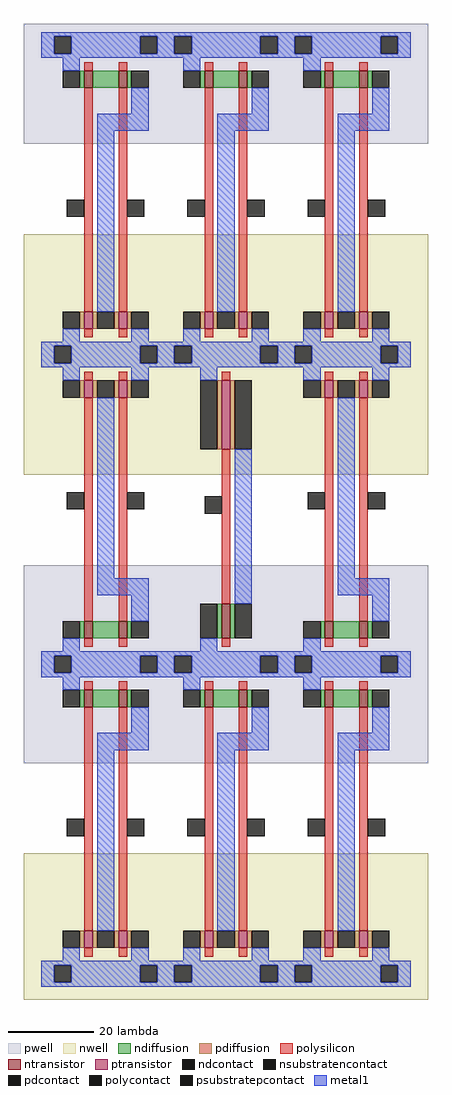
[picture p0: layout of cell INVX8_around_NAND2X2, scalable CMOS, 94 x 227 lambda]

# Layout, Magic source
magic
tech scmos
use NAND2X2  NAND2X2_4
transform 1 0 -26 0 -1 84
box -25 -36 13 47
use NAND2X2  NAND2X2_0
transform 1 0 2 0 -1 84
box -25 -36 13 47
use NAND2X2  NAND2X2_1
transform 1 0 30 0 -1 84
box -25 -36 13 47
use NAND2X2  NAND2X2_3
transform 1 0 -26 0 1 2
box -25 -36 13 47
use INVX8  INVX8_0
transform 1 0 5 0 1 24
box -28 -58 10 25
use NAND2X2  NAND2X2_2
transform 1 0 30 0 1 2
box -25 -36 13 47
use NAND2X2  NAND2X2_5
transform 1 0 -26 0 -1 -60
box -25 -36 13 47
use NAND2X2  NAND2X2_7
transform 1 0 2 0 -1 -60
box -25 -36 13 47
use NAND2X2  NAND2X2_6
transform 1 0 30 0 -1 -60
box -25 -36 13 47
<< end >>

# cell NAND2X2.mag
magic
tech scmos
<< nwell >>
rect -25 13 13 47
<< pwell >>
rect -25 -36 13 -8
<< ntransistor >>
rect -11 -25 -9 -21
rect -3 -25 -1 -21
<< ptransistor >>
rect -11 31 -9 35
rect -3 31 -1 35
<< ndiffusion >>
rect -12 -25 -11 -21
rect -9 -25 -3 -21
rect -1 -25 0 -21
<< pdiffusion >>
rect -12 31 -11 35
rect -9 31 -8 35
rect -4 31 -3 35
rect -1 31 0 35
<< ndcontact >>
rect -16 -25 -12 -21
rect 0 -25 4 -21
<< pdcontact >>
rect -16 31 -12 35
rect -8 31 -4 35
rect 0 31 4 35
<< psubstratepcontact >>
rect -18 -33 -14 -29
rect 2 -33 6 -29
<< nsubstratencontact >>
rect -18 39 -14 43
rect 2 39 6 43
<< polysilicon >>
rect -11 35 -9 37
rect -3 35 -1 37
rect -11 -21 -9 31
rect -3 -21 -1 31
rect -11 -27 -9 -25
rect -3 -27 -1 -25
<< polycontact >>
rect -15 5 -11 9
rect -1 5 3 9
<< metal1 >>
rect -21 43 9 44
rect -21 39 -18 43
rect -14 39 2 43
rect 6 39 9 43
rect -21 38 9 39
rect -16 35 -12 38
rect 0 35 4 38
rect -8 -11 -4 31
rect -8 -15 4 -11
rect 0 -21 4 -15
rect -16 -28 -12 -25
rect -21 -29 9 -28
rect -21 -33 -18 -29
rect -14 -33 2 -29
rect 6 -33 9 -29
rect -21 -34 9 -33
<< labels >>
rlabel nsubstratencontact -16 41 -16 41 1 +VDD
rlabel nsubstratencontact 4 41 4 41 1 +VDD
rlabel metal1 2 -13 2 -13 1 Z
rlabel psubstratepcontact -16 -31 -16 -31 1 GND
rlabel psubstratepcontact 4 -31 4 -31 1 GND
rlabel polycontact -13 7 -13 7 1 A
rlabel polycontact 1 7 1 7 1 B
<< end >>

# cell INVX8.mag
magic
tech scmos
<< nwell >>
rect -28 -9 10 25
<< pwell >>
rect -28 -58 10 -30
<< ntransistor >>
rect -10 -47 -8 -39
<< ptransistor >>
rect -10 -3 -8 13
<< ndiffusion >>
rect -11 -47 -10 -39
rect -8 -47 -7 -39
<< pdiffusion >>
rect -11 -3 -10 13
rect -8 -3 -7 13
<< ndcontact >>
rect -15 -47 -11 -39
rect -7 -47 -3 -39
<< pdcontact >>
rect -15 -3 -11 13
rect -7 -3 -3 13
<< psubstratepcontact >>
rect -21 -55 -17 -51
rect -1 -55 3 -51
<< nsubstratencontact >>
rect -21 17 -17 21
rect -1 17 3 21
<< polysilicon >>
rect -10 13 -8 15
rect -10 -39 -8 -3
rect -10 -49 -8 -47
<< polycontact >>
rect -14 -18 -10 -14
<< metal1 >>
rect -24 21 6 22
rect -24 17 -21 21
rect -17 17 -1 21
rect 3 17 6 21
rect -24 16 6 17
rect -15 13 -11 16
rect -7 -39 -3 -3
rect -15 -50 -11 -47
rect -24 -51 6 -50
rect -24 -55 -21 -51
rect -17 -55 -1 -51
rect 3 -55 6 -51
rect -24 -56 6 -55
<< labels >>
rlabel nsubstratencontact -19 19 -19 19 1 +VDD
rlabel nsubstratencontact 1 19 1 19 1 +VDD
rlabel psubstratepcontact -19 -53 -19 -53 1 GND
rlabel psubstratepcontact 1 -53 1 -53 1 GND
rlabel polycontact -12 -16 -12 -16 1 A
rlabel metal1 -5 -16 -5 -16 1 Z
<< end >>
